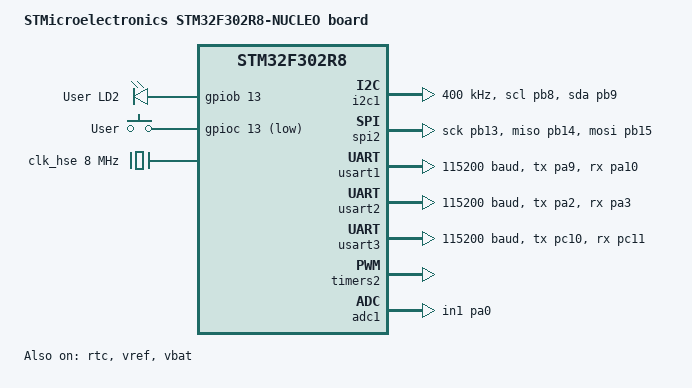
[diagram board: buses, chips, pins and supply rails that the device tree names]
/*
 * Copyright (c) 2018 Seitz & Associates
 *
 * SPDX-License-Identifier: Apache-2.0
 */

/dts-v1/;
#include <st/f3/stm32f302X8.dtsi>
#include <st/f3/stm32f302r(6-8)tx-pinctrl.dtsi>
#include "arduino_r3_connector.dtsi"
#include "st_morpho_connector.dtsi"
#include <zephyr/dt-bindings/input/input-event-codes.h>

/ {
	model = "STMicroelectronics STM32F302R8-NUCLEO board";
	compatible = "st,stm32f302r8-nucleo";

	chosen {
		zephyr,console = &usart2;
		zephyr,shell-uart = &usart2;
		zephyr,sram = &sram0;
		zephyr,flash = &flash0;
	};

	leds: leds {
		compatible = "gpio-leds";

		green_led_2: led_2 {
			gpios = <&gpiob 13 GPIO_ACTIVE_HIGH>;
			label = "User LD2";
		};
	};

	gpio_keys {
		compatible = "gpio-keys";

		user_button: button {
			label = "User";
			gpios = <&gpioc 13 GPIO_ACTIVE_LOW>;
			zephyr,code = <INPUT_KEY_0>;
		};
	};

	aliases {
		led0 = &green_led_2;
		sw0 = &user_button;
		volt-sensor0 = &vref;
		volt-sensor1 = &vbat;
	};
};

&clk_lsi {
	status = "okay";
};

&clk_hse {
	hse-bypass;
	clock-frequency = <DT_FREQ_M(8)>; /* STLink 8MHz clock */
	status = "okay";
};

&pll {
	prediv = <1>;
	mul = <9>;
	clocks = <&clk_hse>;
	status = "okay";
};

&rcc {
	clocks = <&pll>;
	clock-frequency = <DT_FREQ_M(72)>;
	ahb-prescaler = <1>;
	apb1-prescaler = <2>;
	apb2-prescaler = <1>;
};

&i2c1 {
	pinctrl-0 = <&i2c1_scl_pb8 &i2c1_sda_pb9>;
	pinctrl-names = "default";
	status = "okay";
	clock-frequency = <I2C_BITRATE_FAST>;
};

&spi2 {
	pinctrl-0 = <&spi2_sck_pb13 &spi2_miso_pb14 &spi2_mosi_pb15>;
	pinctrl-names = "default";
	cs-gpios = <&gpiob 6 (GPIO_ACTIVE_LOW | GPIO_PULL_UP)>;
	status = "okay";
};

&usart1 {
	pinctrl-0 = <&usart1_tx_pa9 &usart1_rx_pa10>;
	pinctrl-names = "default";
	current-speed = <115200>;
	status = "okay";
};

&usart2 {
	pinctrl-0 = <&usart2_tx_pa2 &usart2_rx_pa3>;
	pinctrl-names = "default";
	current-speed = <115200>;
	status = "okay";
};

&usart3 {
	pinctrl-0 = <&usart3_tx_pc10 &usart3_rx_pc11>;
	pinctrl-names = "default";
	current-speed = <115200>;
	status = "okay";
};

&timers2 {
	status = "okay";

	pwm2: pwm {
		status = "okay";
		pinctrl-0 = <&tim2_ch1_pa0>;
		pinctrl-names = "default";
	};
};

&rtc {
	clocks = <&rcc STM32_CLOCK(APB1, 28)>,
		 <&rcc STM32_SRC_LSI RTC_SEL(2)>;
	status = "okay";
};

&adc1 {
	pinctrl-0 = <&adc1_in1_pa0>;
	pinctrl-names = "default";
	st,adc-clock-source = "SYNC";
	st,adc-prescaler = <2>;
	status = "okay";
};

&vref {
	status = "okay";
};

&vbat {
	status = "okay";
};
